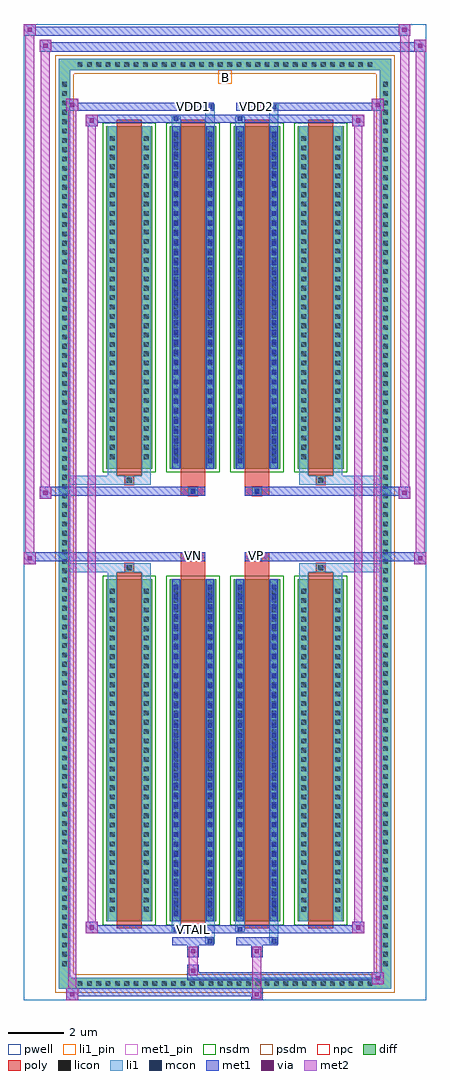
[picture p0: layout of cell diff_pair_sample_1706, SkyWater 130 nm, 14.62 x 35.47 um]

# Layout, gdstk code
import gdstk
lib = gdstk.Library(unit=1e-6, precision=5e-09)
def R(c, l, rs):  # rectangles x0, y0, x1, y1
    for r in rs: c.add(gdstk.rectangle(r[:2], r[2:], *l))
def A(c, l, x, y, w, h, nx, ny, dx, dy):  # array of equal rectangles
    R(c, l, [(x+i*dx, y+j*dy, x+i*dx+w, y+j*dy+h) for i in range(nx) for j in range(ny)])
def P(c, l, *ps):  # polygons
    for p in ps: c.add(gdstk.Polygon(p, *l))
pwell = (64, 44)
diff = (65, 20)
poly = (66, 20)
licon = (66, 44)
li1_pin = (67, 16)
li1 = (67, 20)
mcon = (67, 44)
met1_pin = (68, 16)
met1 = (68, 20)
via = (68, 44)
met2 = (69, 20)
nsdm = (93, 44)
psdm = (94, 20)
npc = (95, 20)

diff_pair_sample_1706 = lib.new_cell('diff_pair_sample_1706')
R(diff_pair_sample_1706, pwell, [(-7.31,-17.3,7.31,18.17), (-4.63,-15.49,-0.01,-0.825), (0.01,-15.49,4.63,-0.825), (-4.63,0.825,-0.01,15.49), (0.01,0.825,4.63,15.49)])
A(diff_pair_sample_1706, diff, -5.475, -16.9, 0.41, 0.41, 32, 2, 0.34, 33.39)
A(diff_pair_sample_1706, diff, -6.04, -16.185, 0.41, 0.41, 1, 95, 0, 0.34)
A(diff_pair_sample_1706, diff, 5.63, -16.185, 0.41, 0.41, 1, 95, 0, 0.34)
A(diff_pair_sample_1706, diff, -4.32, -14.445, 1.68, 12.44, 4, 2, 2.32, 16.45)
R(diff_pair_sample_1706, diff, [(-5.475,-16.9,5.475,-16.49), (-6.04,-16.185,-5.63,16.185), (5.63,-16.185,6.04,16.185), (-5.475,16.49,5.475,16.9)])
P(diff_pair_sample_1706, diff, [(6.04,16.9),(-6.04,16.9),(-6.04,-16.49),(-5.63,-16.49),(-5.63,16.49),(5.63,16.49),(5.63,-16.49),(-5.63,-16.49),(-6.04,-16.49),(-6.04,-16.9),(6.04,-16.9)])
A(diff_pair_sample_1706, poly, -3.93, -14.695, 0.9, 12.94, 4, 2, 2.32, 16.45)
R(diff_pair_sample_1706, poly, [(-3.645,-1.755,-3.315,-1.425), (-3.645,-1.755,-3.315,-1.425), (-1.61,-1.755,-0.71,-1.355), (0.71,-1.755,1.61,-1.355), (3.315,-1.755,3.645,-1.425), (3.315,-1.755,3.645,-1.425), (-1.61,-1.355,-0.71,-1.025), (-1.325,-1.355,-0.995,-1.025), (0.71,-1.355,1.61,-1.025), (0.995,-1.355,1.325,-1.025), (-1.61,1.025,-0.71,1.355), (-1.325,1.025,-0.995,1.355), (0.71,1.025,1.61,1.355), (0.995,1.025,1.325,1.355), (-1.61,1.355,-0.71,1.755), (0.71,1.355,1.61,1.755), (-3.645,1.425,-3.315,1.755), (-3.645,1.425,-3.315,1.755), (3.315,1.425,3.645,1.755), (3.315,1.425,3.645,1.755)])
A(diff_pair_sample_1706, licon, -5.355, -16.78, 0.17, 0.17, 32, 2, 0.34, 33.39)
A(diff_pair_sample_1706, licon, -5.92, -16.065, 0.17, 0.17, 1, 95, 0, 0.34)
A(diff_pair_sample_1706, licon, 5.75, -16.065, 0.17, 0.17, 1, 95, 0, 0.34)
A(diff_pair_sample_1706, licon, -4.18, -14.09, 0.17, 0.17, 1, 35, 0, 0.34)
A(diff_pair_sample_1706, licon, -2.95, -14.09, 0.17, 0.17, 1, 35, 0, 0.34)
A(diff_pair_sample_1706, licon, -1.86, -14.09, 0.17, 0.17, 1, 35, 0, 0.34)
A(diff_pair_sample_1706, licon, -0.63, -14.09, 0.17, 0.17, 1, 35, 0, 0.34)
A(diff_pair_sample_1706, licon, 0.46, -14.09, 0.17, 0.17, 1, 35, 0, 0.34)
A(diff_pair_sample_1706, licon, 1.69, -14.09, 0.17, 0.17, 1, 35, 0, 0.34)
A(diff_pair_sample_1706, licon, 2.78, -14.09, 0.17, 0.17, 1, 35, 0, 0.34)
A(diff_pair_sample_1706, licon, 4.01, -14.09, 0.17, 0.17, 1, 35, 0, 0.34)
A(diff_pair_sample_1706, licon, -4.18, 2.36, 0.17, 0.17, 1, 35, 0, 0.34)
A(diff_pair_sample_1706, licon, -2.95, 2.36, 0.17, 0.17, 1, 35, 0, 0.34)
A(diff_pair_sample_1706, licon, -1.86, 2.36, 0.17, 0.17, 1, 35, 0, 0.34)
A(diff_pair_sample_1706, licon, -0.63, 2.36, 0.17, 0.17, 1, 35, 0, 0.34)
A(diff_pair_sample_1706, licon, 0.46, 2.36, 0.17, 0.17, 1, 35, 0, 0.34)
A(diff_pair_sample_1706, licon, 1.69, 2.36, 0.17, 0.17, 1, 35, 0, 0.34)
A(diff_pair_sample_1706, licon, 2.78, 2.36, 0.17, 0.17, 1, 35, 0, 0.34)
A(diff_pair_sample_1706, licon, 4.01, 2.36, 0.17, 0.17, 1, 35, 0, 0.34)
R(diff_pair_sample_1706, licon, [(-3.565,-1.675,-3.395,-1.505), (3.395,-1.675,3.565,-1.505), (-1.245,-1.275,-1.075,-1.105), (1.075,-1.275,1.245,-1.105), (-1.245,1.105,-1.075,1.275), (1.075,1.105,1.245,1.275), (-3.565,1.505,-3.395,1.675), (3.395,1.505,3.565,1.675)])
R(diff_pair_sample_1706, li1_pin, [(-0.25,15.99,0.25,16.49)])
A(diff_pair_sample_1706, li1, -5.435, -16.86, 0.33, 0.33, 32, 2, 0.34, 33.39)
A(diff_pair_sample_1706, li1, -6, -16.145, 0.33, 0.33, 1, 95, 0, 0.34)
A(diff_pair_sample_1706, li1, 5.67, -16.145, 0.33, 0.33, 1, 95, 0, 0.34)
A(diff_pair_sample_1706, li1, -1.86, -14.25, 0.17, 0.17, 1, 34, 0, 0.36)
A(diff_pair_sample_1706, li1, -0.63, -14.25, 0.17, 0.17, 1, 34, 0, 0.36)
A(diff_pair_sample_1706, li1, 0.46, -14.25, 0.17, 0.17, 1, 34, 0, 0.36)
A(diff_pair_sample_1706, li1, 1.69, -14.25, 0.17, 0.17, 1, 34, 0, 0.36)
A(diff_pair_sample_1706, li1, -4.26, -14.17, 0.33, 0.33, 1, 35, 0, 0.34)
A(diff_pair_sample_1706, li1, -3.03, -14.17, 0.33, 0.33, 1, 35, 0, 0.34)
A(diff_pair_sample_1706, li1, -1.94, -14.17, 0.33, 0.33, 1, 35, 0, 0.34)
A(diff_pair_sample_1706, li1, -0.71, -14.17, 0.33, 0.33, 1, 35, 0, 0.34)
A(diff_pair_sample_1706, li1, 0.38, -14.17, 0.33, 0.33, 1, 35, 0, 0.34)
A(diff_pair_sample_1706, li1, 1.61, -14.17, 0.33, 0.33, 1, 35, 0, 0.34)
A(diff_pair_sample_1706, li1, 2.7, -14.17, 0.33, 0.33, 1, 35, 0, 0.34)
A(diff_pair_sample_1706, li1, 3.93, -14.17, 0.33, 0.33, 1, 35, 0, 0.34)
A(diff_pair_sample_1706, li1, -1.86, 2.2, 0.17, 0.17, 1, 34, 0, 0.36)
A(diff_pair_sample_1706, li1, -0.63, 2.2, 0.17, 0.17, 1, 34, 0, 0.36)
A(diff_pair_sample_1706, li1, 0.46, 2.2, 0.17, 0.17, 1, 34, 0, 0.36)
A(diff_pair_sample_1706, li1, 1.69, 2.2, 0.17, 0.17, 1, 34, 0, 0.36)
A(diff_pair_sample_1706, li1, -4.26, 2.28, 0.33, 0.33, 1, 35, 0, 0.34)
A(diff_pair_sample_1706, li1, -3.03, 2.28, 0.33, 0.33, 1, 35, 0, 0.34)
A(diff_pair_sample_1706, li1, -1.94, 2.28, 0.33, 0.33, 1, 35, 0, 0.34)
A(diff_pair_sample_1706, li1, -0.71, 2.28, 0.33, 0.33, 1, 35, 0, 0.34)
A(diff_pair_sample_1706, li1, 0.38, 2.28, 0.33, 0.33, 1, 35, 0, 0.34)
A(diff_pair_sample_1706, li1, 1.61, 2.28, 0.33, 0.33, 1, 35, 0, 0.34)
A(diff_pair_sample_1706, li1, 2.7, 2.28, 0.33, 0.33, 1, 35, 0, 0.34)
A(diff_pair_sample_1706, li1, 3.93, 2.28, 0.33, 0.33, 1, 35, 0, 0.34)
R(diff_pair_sample_1706, li1, [(-6.04,-16.9,-5.63,-16.49), (-6.04,-16.9,-5.63,-16.49), (-5.63,-16.9,5.63,-16.49), (5.63,-16.9,6.04,-16.49), (5.63,-16.9,6.04,-16.49), (-6.04,-16.49,-5.63,16.49), (5.63,-16.49,6.04,16.49), (-0.71,-15.25,-0.38,-14.445), (-0.63,-15.25,-0.46,-15.08), (1.61,-15.25,1.94,-14.445), (1.69,-15.25,1.86,-15.08), (-1.94,-14.82,-1.61,-14.445), (-1.86,-14.82,-1.69,-14.65), (0.38,-14.82,0.71,-14.445), (0.46,-14.82,0.63,-14.65), (-4.26,-14.445,-3.93,-2.005), (-3.03,-14.445,-2.7,-2.005), (-1.94,-14.445,-1.61,-2.005), (-0.71,-14.445,-0.38,-2.005), (0.38,-14.445,0.71,-2.005), (1.61,-14.445,1.94,-2.005), (2.7,-14.445,3.03,-2.005), (3.93,-14.445,4.26,-2.005), (-1.86,-14.25,-1.69,-2.2), (-0.63,-14.25,-0.46,-2.2), (0.46,-14.25,0.63,-2.2), (1.69,-14.25,1.86,-2.2), (-4.26,-2.005,-3.93,-1.425), (-3.03,-2.005,-2.7,-1.425), (2.7,-2.005,3.03,-1.425), (3.93,-2.005,4.26,-1.425), (-6.04,-1.755,-3.645,-1.425), (-4.26,-1.755,-3.645,-1.425), (-3.645,-1.755,-3.315,-1.425), (-3.315,-1.755,-2.7,-1.425), (2.7,-1.755,3.315,-1.425), (3.315,-1.755,3.645,-1.425), (3.315,-1.755,6.04,-1.425), (3.645,-1.755,4.26,-1.425), (-1.325,-1.355,-0.995,-1.025), (0.995,-1.355,1.325,-1.025), (-1.325,1.025,-0.995,1.355), (0.995,1.025,1.325,1.355), (-6.04,1.425,-3.645,1.755), (-4.26,1.425,-3.645,1.755), (-4.26,1.425,-3.93,2.005), (-3.645,1.425,-3.315,1.755), (-3.315,1.425,-2.7,1.755), (-3.03,1.425,-2.7,2.005), (2.7,1.425,3.315,1.755), (2.7,1.425,3.03,2.005), (3.315,1.425,3.645,1.755), (3.315,1.425,6.04,1.755), (3.645,1.425,4.26,1.755), (3.93,1.425,4.26,2.005), (-4.26,2.005,-3.93,14.445), (-3.03,2.005,-2.7,14.445), (-1.94,2.005,-1.61,14.445), (-0.71,2.005,-0.38,14.445), (0.38,2.005,0.71,14.445), (1.61,2.005,1.94,14.445), (2.7,2.005,3.03,14.445), (3.93,2.005,4.26,14.445), (-1.86,2.2,-1.69,14.25), (-0.63,2.2,-0.46,14.25), (0.46,2.2,0.63,14.25), (1.69,2.2,1.86,14.25), (-1.94,14.445,-1.61,14.82), (-0.71,14.445,-0.38,15.25), (0.38,14.445,0.71,14.82), (1.61,14.445,1.94,15.25), (-1.86,14.65,-1.69,14.82), (0.46,14.65,0.63,14.82), (-0.63,15.08,-0.46,15.25), (1.69,15.08,1.86,15.25), (-6.04,16.49,-5.63,16.9), (-6.04,16.49,-5.63,16.9), (-5.63,16.49,5.63,16.9), (5.63,16.49,6.04,16.9), (5.63,16.49,6.04,16.9)])
A(diff_pair_sample_1706, mcon, -1.86, -14.25, 0.17, 0.17, 1, 34, 0, 0.36)
A(diff_pair_sample_1706, mcon, -0.63, -14.25, 0.17, 0.17, 1, 34, 0, 0.36)
A(diff_pair_sample_1706, mcon, 0.46, -14.25, 0.17, 0.17, 1, 34, 0, 0.36)
A(diff_pair_sample_1706, mcon, 1.69, -14.25, 0.17, 0.17, 1, 34, 0, 0.36)
A(diff_pair_sample_1706, mcon, -1.86, 2.2, 0.17, 0.17, 1, 34, 0, 0.36)
A(diff_pair_sample_1706, mcon, -0.63, 2.2, 0.17, 0.17, 1, 34, 0, 0.36)
A(diff_pair_sample_1706, mcon, 0.46, 2.2, 0.17, 0.17, 1, 34, 0, 0.36)
A(diff_pair_sample_1706, mcon, 1.69, 2.2, 0.17, 0.17, 1, 34, 0, 0.36)
R(diff_pair_sample_1706, mcon, [(-0.63,-15.25,-0.46,-15.08), (1.69,-15.25,1.86,-15.08), (-1.86,-14.82,-1.69,-14.65), (0.46,-14.82,0.63,-14.65), (-1.245,-1.275,-1.075,-1.105), (1.075,-1.275,1.245,-1.105), (-1.245,1.105,-1.075,1.275), (1.075,1.105,1.245,1.275), (-1.86,14.65,-1.69,14.82), (0.46,14.65,0.63,14.82), (-0.63,15.08,-0.46,15.25), (1.69,15.08,1.86,15.25)])
R(diff_pair_sample_1706, met1_pin, [(-1.295,-14.86,-1.025,-14.59), (-1.295,-1.295,-1.025,-1.025), (1.025,-1.295,1.295,-1.025), (-1.295,15.04,-1.025,15.31), (1.025,15.04,1.295,15.31)])
A(diff_pair_sample_1706, met1, -1.92, -14.31, 0.29, 0.29, 1, 34, 0, 0.36)
A(diff_pair_sample_1706, met1, -0.69, -14.31, 0.29, 0.29, 1, 34, 0, 0.36)
A(diff_pair_sample_1706, met1, 0.4, -14.31, 0.29, 0.29, 1, 34, 0, 0.36)
A(diff_pair_sample_1706, met1, 1.63, -14.31, 0.29, 0.29, 1, 34, 0, 0.36)
A(diff_pair_sample_1706, met1, -1.92, 2.14, 0.29, 0.29, 1, 34, 0, 0.36)
A(diff_pair_sample_1706, met1, -0.69, 2.14, 0.29, 0.29, 1, 34, 0, 0.36)
A(diff_pair_sample_1706, met1, 0.4, 2.14, 0.29, 0.29, 1, 34, 0, 0.36)
A(diff_pair_sample_1706, met1, 1.63, 2.14, 0.29, 0.29, 1, 34, 0, 0.36)
R(diff_pair_sample_1706, met1, [(-5.77,-17.3,-5.34,-16.87), (0.945,-17.3,1.375,-16.87), (-5.77,-17.16,1.375,-16.87), (5.34,-16.73,5.77,-16.3), (-1.375,-16.59,5.77,-16.3), (-1.375,-16.45,-0.945,-16.02), (-1.375,-15.74,-0.945,-15.31), (0.945,-15.74,1.375,-15.31), (-1.92,-15.31,-0.4,-15.02), (-0.69,-15.31,-0.4,-15.02), (0.4,-15.31,1.92,-15.02), (1.63,-15.31,1.92,-15.02), (-5.06,-14.88,-4.63,-14.45), (-5.06,-14.88,-1.92,-14.59), (-1.92,-14.88,-1.63,-14.59), (-1.92,-14.88,-0.4,-14.59), (-0.4,-14.88,0.4,-14.59), (0.4,-14.88,0.69,-14.59), (0.4,-14.88,1.92,-14.59), (1.92,-14.88,5.06,-14.59), (4.63,-14.88,5.06,-14.45), (-1.92,-14.445,-1.63,-2.005), (-0.69,-14.445,-0.4,-2.005), (0.4,-14.445,0.69,-2.005), (1.63,-14.445,1.92,-2.005), (-7.31,-1.455,-6.88,-1.025), (6.88,-1.455,7.31,-1.025), (-7.31,-1.355,-0.71,-1.025), (-1.61,-1.355,-0.71,-1.025), (0.71,-1.355,1.61,-1.025), (0.71,-1.355,7.31,-1.025), (-1.305,-1.335,-1.015,-1.045), (1.015,-1.335,1.305,-1.045), (-6.74,0.925,-6.31,1.355), (6.31,0.925,6.74,1.355), (-6.74,1.025,-1.61,1.355), (-1.61,1.025,-0.71,1.355), (0.71,1.025,1.61,1.355), (1.61,1.025,6.74,1.355), (-1.305,1.045,-1.015,1.335), (1.015,1.045,1.305,1.335), (-1.92,2.005,-1.63,14.445), (-0.69,2.005,-0.4,14.445), (0.4,2.005,0.69,14.445), (1.63,2.005,1.92,14.445), (-5.06,14.45,-4.63,14.88), (4.63,14.45,5.06,14.88), (-5.06,14.59,-1.92,14.88), (-1.92,14.59,-1.63,14.88), (-1.92,14.59,-0.4,14.88), (-0.4,14.59,0.4,14.88), (0.4,14.59,0.69,14.88), (0.4,14.59,1.92,14.88), (1.92,14.59,5.06,14.88), (-5.77,15.02,-5.34,15.45), (-5.77,15.02,-1.92,15.31), (-1.92,15.02,-0.4,15.31), (-0.69,15.02,-0.4,15.31), (0.4,15.02,1.92,15.31), (1.63,15.02,1.92,15.31), (1.92,15.02,5.77,15.31), (5.34,15.02,5.77,15.45), (-6.74,17.17,-6.31,17.6), (-6.74,17.17,-4.63,17.5), (-4.63,17.17,4.63,17.5), (4.63,17.17,7.31,17.5), (6.88,17.17,7.31,17.6), (-7.31,17.74,-6.88,18.17), (-7.31,17.74,-4.63,18.07), (-4.63,17.74,4.63,18.07), (4.63,17.74,6.74,18.07), (6.31,17.74,6.74,18.17)])
R(diff_pair_sample_1706, via, [(-5.63,-17.16,-5.48,-17.01), (1.085,-17.16,1.235,-17.01), (5.48,-16.59,5.63,-16.44), (-1.235,-16.31,-1.085,-16.16), (-1.235,-15.6,-1.085,-15.45), (1.085,-15.6,1.235,-15.45), (-4.92,-14.74,-4.77,-14.59), (4.77,-14.74,4.92,-14.59), (-7.17,-1.315,-7.02,-1.165), (7.02,-1.315,7.17,-1.165), (-6.6,1.065,-6.45,1.215), (6.45,1.065,6.6,1.215), (-4.92,14.59,-4.77,14.74), (4.77,14.59,4.92,14.74), (-5.63,15.16,-5.48,15.31), (5.48,15.16,5.63,15.31), (-6.6,17.31,-6.45,17.46), (7.02,17.31,7.17,17.46), (-7.17,17.88,-7.02,18.03), (6.45,17.88,6.6,18.03)])
R(diff_pair_sample_1706, met2, [(-5.77,-17.3,-5.34,-16.87), (-5.7,-17.3,-5.41,15.45), (-5.41,-17.3,-5.34,-16.87), (-5.72,-17.25,-5.39,-16.92), (0.995,-17.25,1.325,-16.92), (0.995,-16.92,1.325,-15.69), (5.34,-16.73,5.77,-16.3), (5.41,-16.73,5.7,15.45), (5.7,-16.73,5.77,-16.3), (5.39,-16.68,5.72,-16.35), (-1.325,-16.4,-0.995,-16.07), (-1.325,-16.07,-0.995,-15.69), (-1.325,-15.69,-0.995,-15.36), (0.995,-15.69,1.325,-15.36), (-5.06,-14.88,-4.63,-14.45), (-4.99,-14.88,-4.7,14.88), (-4.7,-14.88,-4.63,-14.45), (4.63,-14.88,5.06,-14.45), (4.7,-14.88,4.99,14.88), (4.99,-14.88,5.06,-14.45), (-5.01,-14.83,-4.68,-14.5), (4.68,-14.83,5.01,-14.5), (-7.31,-1.455,-6.88,-1.025), (-7.26,-1.455,-6.93,18.17), (-6.93,-1.455,-6.88,-1.025), (6.88,-1.455,7.31,-1.025), (6.93,-1.455,7.26,17.6), (7.26,-1.455,7.31,-1.025), (-7.26,-1.405,-6.93,-1.075), (6.93,-1.405,7.26,-1.075), (-6.74,0.925,-6.31,1.355), (-6.69,0.925,-6.36,17.6), (-6.36,0.925,-6.31,1.355), (6.31,0.925,6.74,1.355), (6.36,0.925,6.69,18.17), (6.69,0.925,6.74,1.355), (-6.69,0.975,-6.36,1.305), (6.36,0.975,6.69,1.305), (-5.06,14.45,-4.63,14.88), (-4.7,14.45,-4.63,14.88), (4.63,14.45,5.06,14.88), (4.99,14.45,5.06,14.88), (-5.01,14.5,-4.68,14.83), (4.68,14.5,5.01,14.83), (-5.77,15.02,-5.34,15.45), (-5.41,15.02,-5.34,15.45), (5.34,15.02,5.77,15.45), (5.7,15.02,5.77,15.45), (-5.72,15.07,-5.39,15.4), (5.39,15.07,5.72,15.4), (-6.74,17.17,-6.31,17.6), (-6.36,17.17,-6.31,17.6), (6.88,17.17,7.31,17.6), (7.26,17.17,7.31,17.6), (-6.69,17.22,-6.36,17.55), (6.93,17.22,7.26,17.55), (-7.31,17.74,-6.88,18.17), (-6.93,17.74,-6.88,18.17), (6.31,17.74,6.74,18.17), (6.69,17.74,6.74,18.17), (-7.26,17.79,-6.93,18.12), (6.36,17.79,6.69,18.12)])
A(diff_pair_sample_1706, nsdm, -4.45, -14.575, 1.94, 12.7, 4, 2, 2.32, 16.45)
P(diff_pair_sample_1706, psdm, [(6.17,17.03),(-6.17,17.03),(-6.17,-16.36),(-5.5,-16.36),(-5.5,16.36),(5.5,16.36),(5.5,-16.36),(-5.5,-16.36),(-6.17,-16.36),(-6.17,-17.03),(6.17,-17.03)])
R(diff_pair_sample_1706, npc, [(-3.665,-1.775,-3.295,-1.405), (3.295,-1.775,3.665,-1.405), (-1.345,-1.375,-0.975,-1.005), (0.975,-1.375,1.345,-1.005), (-1.345,1.005,-0.975,1.375), (0.975,1.005,1.345,1.375), (-3.665,1.405,-3.295,1.775), (3.295,1.405,3.665,1.775)])
diff_pair_sample_1706.add(gdstk.Label('VTAIL', (-1.16,-14.725), layer=68, texttype=5))
diff_pair_sample_1706.add(gdstk.Label('VN', (-1.16,-1.16), layer=68, texttype=5))
diff_pair_sample_1706.add(gdstk.Label('VP', (1.16,-1.16), layer=68, texttype=5))
diff_pair_sample_1706.add(gdstk.Label('B', (0,16.24), layer=67, texttype=5))
diff_pair_sample_1706.add(gdstk.Label('VDD2', (1.16,15.175), layer=68, texttype=5))
diff_pair_sample_1706.add(gdstk.Label('VDD1', (-1.16,15.175), layer=68, texttype=5))

lib.write_gds('diff_pair_sample_1706.gds')
